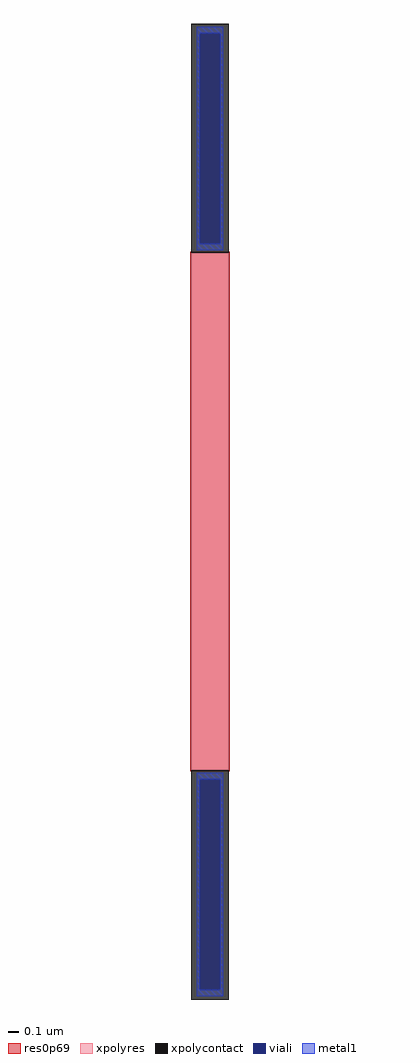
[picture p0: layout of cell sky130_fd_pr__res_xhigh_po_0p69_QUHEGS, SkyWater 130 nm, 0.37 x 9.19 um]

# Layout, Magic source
magic
tech sky130A
magscale 1 2
<< xpolycontact >>
rect -35 487 35 919
rect -35 -919 35 -487
<< xpolyres >>
rect -35 -487 35 487
<< viali >>
rect -19 504 19 901
rect -19 -901 19 -504
<< metal1 >>
rect -25 901 25 913
rect -25 504 -19 901
rect 19 504 25 901
rect -25 492 25 504
rect -25 -504 25 -492
rect -25 -901 -19 -504
rect 19 -901 25 -504
rect -25 -913 25 -901
<< res0p69 >>
rect -37 -489 37 489
<< properties >>
string gencell sky130_fd_pr__res_xhigh_po_0p69
string parameters w 0.350 l 4.87 m 1 nx 1 wmin 0.350 lmin 0.50 rho 2000 val 27.938k dummy 0 dw 0.0 term 19.188 sterm 0.0 caplen 0 wmax 0.350 guard 0 glc 1 grc 1 gtc 1 gbc 1 compatible {sky130_fd_pr__res_xhigh_po_0p35  sky130_fd_pr__res_xhigh_po_0p69 sky130_fd_pr__res_xhigh_po_1p41  sky130_fd_pr__res_xhigh_po_2p85 sky130_fd_pr__res_xhigh_po_5p73} full_metal 1 n_guard 0 hv_guard 0 vias 1 viagb 0 viagt 0 viagl 0 viagr 0
string library sky130
<< end >>
